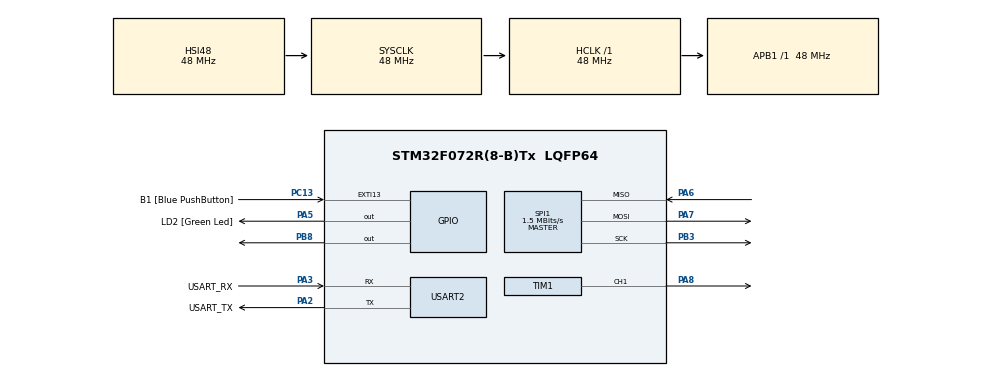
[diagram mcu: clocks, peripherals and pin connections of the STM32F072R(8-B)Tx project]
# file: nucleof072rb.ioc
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Mcu.Family=STM32F0
Mcu.Name=STM32F072R(8-B)Tx
Mcu.Package=LQFP64
PA13.GPIO_Label=TMS
PA13.Mode=Serial_Wire
PA13.Signal=SYS_SWDIO
PA14.GPIO_Label=TCK
PA14.Mode=Serial_Wire
PA14.Signal=SYS_SWCLK
PA2.GPIO_Label=USART_TX
PA2.GPIO_Mode=GPIO_MODE_AF_PP
PA2.GPIO_PuPd=GPIO_NOPULL
PA2.GPIO_Speed=GPIO_SPEED_FREQ_LOW
PA2.Mode=Asynchronous
PA2.Signal=USART2_TX
PA3.GPIO_Label=USART_RX
PA3.GPIO_Mode=GPIO_MODE_AF_PP
PA3.GPIO_PuPd=GPIO_NOPULL
PA3.GPIO_Speed=GPIO_SPEED_FREQ_LOW
PA3.Mode=Asynchronous
PA3.Signal=USART2_RX
PA5.GPIO_Label=LD2 [Green Led]
PA5.GPIO_Mode=GPIO_MODE_OUTPUT_PP
PA5.GPIO_PuPd=GPIO_NOPULL
PA5.GPIO_Speed=GPIO_SPEED_FREQ_LOW
PA5.Signal=GPIO_Output
PA6.Mode=Full_Duplex_Master
PA6.Signal=SPI1_MISO
PA7.Mode=Full_Duplex_Master
PA7.Signal=SPI1_MOSI
PA8.Signal=S_TIM1_CH1
PB3.Mode=Full_Duplex_Master
PB3.Signal=SPI1_SCK
PB8.Signal=GPIO_Output
PC13.GPIO_Label=B1 [Blue PushButton]
PC13.GPIO_ModeDefaultEXTI=GPIO_MODE_IT_FALLING
PC13.Signal=GPXTI13
PC14-OSC32_IN.Mode=LSE-External-Oscillator
PC14-OSC32_IN.Signal=RCC_OSC32_IN
PC15-OSC32_OUT.Mode=LSE-External-Oscillator
PC15-OSC32_OUT.Signal=RCC_OSC32_OUT
PF0-OSC_IN.Mode=HSE-External-Clock-Source
PF0-OSC_IN.Signal=RCC_OSC_IN
PF1-OSC_OUT.Signal=RCC_OSC_OUT
ProjectManager.HeapSize=0x200
ProjectManager.StackSize=0x400
ProjectManager.TargetToolchain=STM32CubeIDE
RCC.AHBFreq_Value=48000000
RCC.APB1Freq_Value=48000000
RCC.APB1TimFreq_Value=48000000
RCC.FLatency-AdvancedSettings=FLASH_LATENCY_1
RCC.HCLKFreq_Value=48000000
RCC.PLLDivider=RCC_PREDIV_DIV2
RCC.PLLMUL=RCC_PLL_MUL12
RCC.PREFETCH_ENABLE-AdvancedSettings=1
RCC.SYSCLKFreq_VALUE=48000000
RCC.SYSCLKSource=RCC_SYSCLKSOURCE_HSI48
SH.S_TIM1_CH1.0=TIM1_CH1,PWM Generation1 CH1
SPI1.BaudRatePrescaler=SPI_BAUDRATEPRESCALER_32
SPI1.CalculateBaudRate=1.5 MBits/s
SPI1.DataSize=SPI_DATASIZE_8BIT
SPI1.Direction=SPI_DIRECTION_2LINES
SPI1.Mode=SPI_MODE_MASTER
SPI1.VirtualType=VM_MASTER
TIM1.Channel-PWM\ Generation1\ CH1=TIM_CHANNEL_1
TIM1.Period=63999
TIM1.Prescaler=14
USART2.VirtualMode=VM_ASYNC
USART2.VirtualMode-Asynchronous=VM_ASYNC
VP_TIM1_VS_ClockSourceINT.Mode=Internal
board=NUCLEO-F072RB

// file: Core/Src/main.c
/* USER CODE BEGIN Header */
/**
  ******************************************************************************
  * @file           : main.c
  * @brief          : Main program body
  ******************************************************************************
  * @attention
  *
  * <h2><center>&copy; Copyright (c) 2021 STMicroelectronics.
  * All rights reserved.</center></h2>
  *
  * This software component is licensed by ST under BSD 3-Clause license,
  * the "License"; You may not use this file except in compliance with the
  * License. You may obtain a copy of the License at:
  *                        opensource.org/licenses/BSD-3-Clause
  *
  ******************************************************************************
  */
/* USER CODE END Header */
#include "main.h"
#include "usart.h"
#include "gpio.h"

/* USER CODE BEGIN Includes */
#include "spi.h"
#include "tim.h"
/* USER CODE END Includes */

void SystemClock_Config(void);

/* USER CODE BEGIN 0 */
uint16_t read_ADC(uint8_t channel);
uint32_t ADC_to_counts(uint16_t adc_value);
/* USER CODE END 0 */

int main(void)
{

  /* MCU Configuration--------------------------------------------------------*/

  /* Reset of all peripherals, Initializes the Flash interface and the Systick. */
  HAL_Init();

  /* Configure the system clock */
  SystemClock_Config();

  /* Initialize all configured peripherals */
  MX_GPIO_Init();
  MX_USART2_UART_Init();

  /* USER CODE BEGIN 2 */
  MX_SPI1_Init();
  MX_TIM1_Init();
  HAL_TIM_PWM_Start(&htim1,TIM_CHANNEL_1);

  /* USER CODE END 2 */

  /* Infinite loop */
  while (1)
  {

	  uint16_t adc_value=read_ADC(0);
	  uint32_t pwm_value=ADC_to_counts(adc_value);
	  __HAL_TIM_SET_COMPARE(&htim1, TIM_CHANNEL_1,pwm_value);

	  HAL_Delay(10);
  }
}

void SystemClock_Config(void)
{
  RCC_OscInitTypeDef RCC_OscInitStruct = {0};
  RCC_ClkInitTypeDef RCC_ClkInitStruct = {0};
  RCC_PeriphCLKInitTypeDef PeriphClkInit = {0};

  /** Initializes the RCC Oscillators according to the specified parameters
  * in the RCC_OscInitTypeDef structure.
  */
  RCC_OscInitStruct.OscillatorType = RCC_OSCILLATORTYPE_HSI48;
  RCC_OscInitStruct.HSI48State = RCC_HSI48_ON;
  RCC_OscInitStruct.PLL.PLLState = RCC_PLL_NONE;
  if (HAL_RCC_OscConfig(&RCC_OscInitStruct) != HAL_OK)
  {
    Error_Handler();
  }
  /** Initializes the CPU, AHB and APB buses clocks
  */
  RCC_ClkInitStruct.ClockType = RCC_CLOCKTYPE_HCLK|RCC_CLOCKTYPE_SYSCLK
                              |RCC_CLOCKTYPE_PCLK1;
  RCC_ClkInitStruct.SYSCLKSource = RCC_SYSCLKSOURCE_HSI48;
  RCC_ClkInitStruct.AHBCLKDivider = RCC_SYSCLK_DIV1;
  RCC_ClkInitStruct.APB1CLKDivider = RCC_HCLK_DIV1;

  if (HAL_RCC_ClockConfig(&RCC_ClkInitStruct, FLASH_LATENCY_1) != HAL_OK)
  {
    Error_Handler();
  }
  PeriphClkInit.PeriphClockSelection = RCC_PERIPHCLK_USART2;
  PeriphClkInit.Usart2ClockSelection = RCC_USART2CLKSOURCE_PCLK1;
  if (HAL_RCCEx_PeriphCLKConfig(&PeriphClkInit) != HAL_OK)
  {
    Error_Handler();
  }
}

/* USER CODE BEGIN 4 */
uint16_t read_ADC(uint8_t channel){
	uint8_t MISO[3];
	uint8_t MOSI[3];

	MOSI[0]=0x01;
	MOSI[1]=0x08 | (channel << 4);
	MOSI[2]=0x00;

	HAL_GPIO_WritePin(GPIOB,GPIO_PIN_8, GPIO_PIN_RESET);

	HAL_SPI_TransmitReceive(&hspi1,MOSI,MISO,3,1000);

	HAL_GPIO_WritePin(GPIOB,GPIO_PIN_8, GPIO_PIN_SET);

	uint16_t adc_value=((MISO[1] & 0x03) << 8) | MISO[2];
	return adc_value;
}

uint32_t ADC_to_counts(uint16_t adc_value){
	uint32_t min=3200;
	uint32_t max=6400;
	uint32_t count= min + (adc_value*(max-min)) / 1023;
	return count;
}

/* USER CODE END 4 */

void Error_Handler(void)
{
  __disable_irq();
  while (1)
  {
  }
}

/************************ (C) COPYRIGHT STMicroelectronics *****END OF FILE****/
